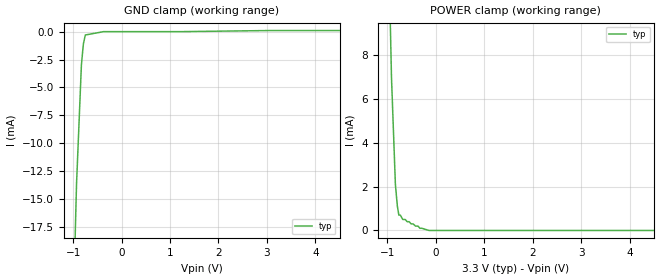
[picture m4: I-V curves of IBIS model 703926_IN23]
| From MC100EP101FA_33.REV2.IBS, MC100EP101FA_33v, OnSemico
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| (C) COPYRIGHT 1993-2001
| MENTOR GRAPHICS CORPORATION
| ICX STANDARD LIBRARY, ICX PROJECT MODELING,
| ICX CUSTOM MODELING, ICX VENDOR MODEL
| ALL RIGHTS RESERVED.
| THE FOLLOWING ARE TRADEMARKS OR SERVICE MARKS OF
| MENTOR GRAPHICS CORPORATION:ICX (R), ICX STANDARD
| LIBRARY(R), ICX PROJECT MODELING(R), ICX CUSTOM
| MODELING(R), qualityIBIS(TM), MODELVIEWER(TM),
| AND MODELEDITOR(TM)
| ALL COPIES OF SOFTWARE, INCLUDING BUT NOT LIMITED TO
| ANY MODIFICATIONS, ENHANCEMENTS OR DERIVATIVE WORKS,
| MUST CONTAIN ALL MENTOR GRAPHICS CORPORATION'S
| NOTICES AND LEGENDS, INCLUDING THOSE EMBEDDED IN
| SOFTWARE AND THOSE AFFIXED TO SOFTWARE MEDIUM
| AND CONTAINER, AS RECEIVED FROM MENTOR GRAPHICS
| CORPORATION.
| Model Application Version 1.89 2/18/99.
[Model] 703926_IN23
Model_type Input_ECL
Vinl = 1.675V
Vinh = 2.075V
C_comp 4.000pF NA NA
| variable typ   min   max
[Voltage Range] 3.300V NA NA
[GND Clamp Reference] 0.000V NA NA
[POWER Clamp Reference] 3.300V NA NA
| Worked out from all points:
|   GND clamp passes 1 mA (typ) near -0.79 V on its own axis
|   POWER clamp passes 1 mA (typ) near -0.79 V on its own axis
[GND Clamp]
-3.3V     -522.1mA   NA         NA
-1.074V   -37.7mA    NA         NA
-932mV    -13.7mA    NA         NA
-831mV    -3mA       NA         NA
-790mV    -1.1mA     NA         NA
-750mV    -300uA     NA         NA
-375mV    0A         NA         NA
1.195V    0A         NA         NA
3.06V     100uA      NA         NA
6.6V      100uA      NA         NA
[POWER Clamp]
-3.3V     407.3mA    NA         NA
-1.017V   17.3mA     NA         NA
-916mV    7mA        NA         NA
-835mV    2.1mA      NA         NA
-794mV    1.1mA      NA         NA
-763.5mV  700uA      NA         NA
-733mV    700uA      NA         NA
-682.5mV  500uA      NA         NA
-632mV    500uA      NA         NA
-328mV    100uA      NA         NA
-143.5mV  0A         NA         NA
6.6V      0A         NA         NA
